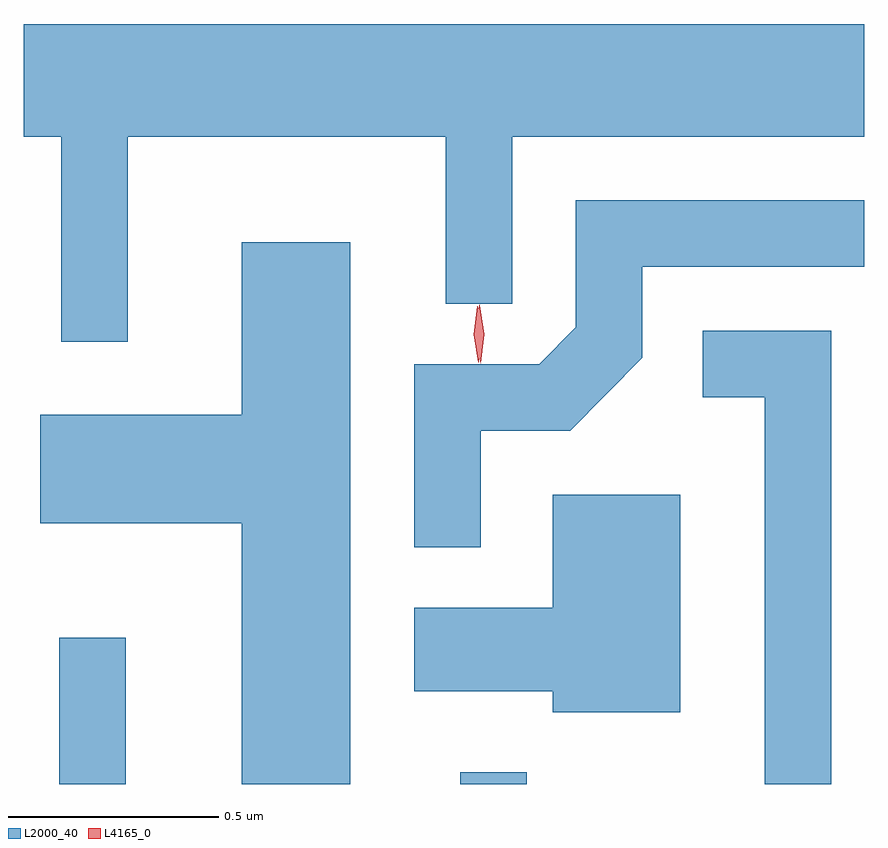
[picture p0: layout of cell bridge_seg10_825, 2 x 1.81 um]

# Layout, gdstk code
import gdstk
lib = gdstk.Library(unit=1e-6, precision=1e-09)
def R(c, l, rs):  # rectangles x0, y0, x1, y1
    for r in rs: c.add(gdstk.rectangle(r[:2], r[2:], *l))
def P(c, l, *ps):  # polygons
    for p in ps: c.add(gdstk.Polygon(p, *l))
L2000_40 = (2000, 40)
L4165_0 = (4165, 0)

bridge_seg10_825 = lib.new_cell('bridge_seg10_825')
R(bridge_seg10_825, L2000_40, [(404.241,2127.915,404.399,2128.263), (405.196,2127.915,405.354,2127.943)])
P(bridge_seg10_825, L2000_40, [(404.404,2129.456),(405.161,2129.456),(405.161,2129.058),(405.319,2129.058),(405.319,2129.456),(406.157,2129.456),(406.157,2129.724),(404.157,2129.724),(404.157,2129.456),(404.246,2129.456),(404.246,2128.968),(404.404,2128.968)],
  [(405.244,2128.756),(405.457,2128.756),(405.629,2128.929),(405.629,2129.146),(406.157,2129.146),(406.157,2129.304),(405.471,2129.304),(405.471,2129.002),(405.384,2128.914),(405.086,2128.914),(405.086,2128.478),(405.244,2128.478)],
  [(404.934,2129.204),(404.676,2129.204),(404.676,2128.794),(404.196,2128.794),(404.196,2128.536),(404.676,2128.536),(404.676,2127.915),(404.934,2127.915)],
  [(406.079,2128.994),(405.773,2128.994),(405.773,2128.836),(405.921,2128.836),(405.921,2127.915),(406.079,2127.915)],
  [(405.719,2128.604),(405.416,2128.604),(405.416,2128.334),(405.086,2128.334),(405.086,2128.136),(405.416,2128.136),(405.416,2128.086),(405.719,2128.086)])
P(bridge_seg10_825, L4165_0, [(405.239,2128.919),(405.239,2128.919),(405.228,2128.986),(405.236,2129.052),(405.236,2129.052),(405.237,2129.052),(405.248,2128.986),(405.24,2128.919)],
  [(405.244,2128.917),(405.244,2128.917),(405.233,2128.986),(405.241,2129.055),(405.242,2129.056),(405.242,2129.055),(405.253,2128.986),(405.245,2128.917)])

lib.write_gds('bridge_seg10_825.gds')
